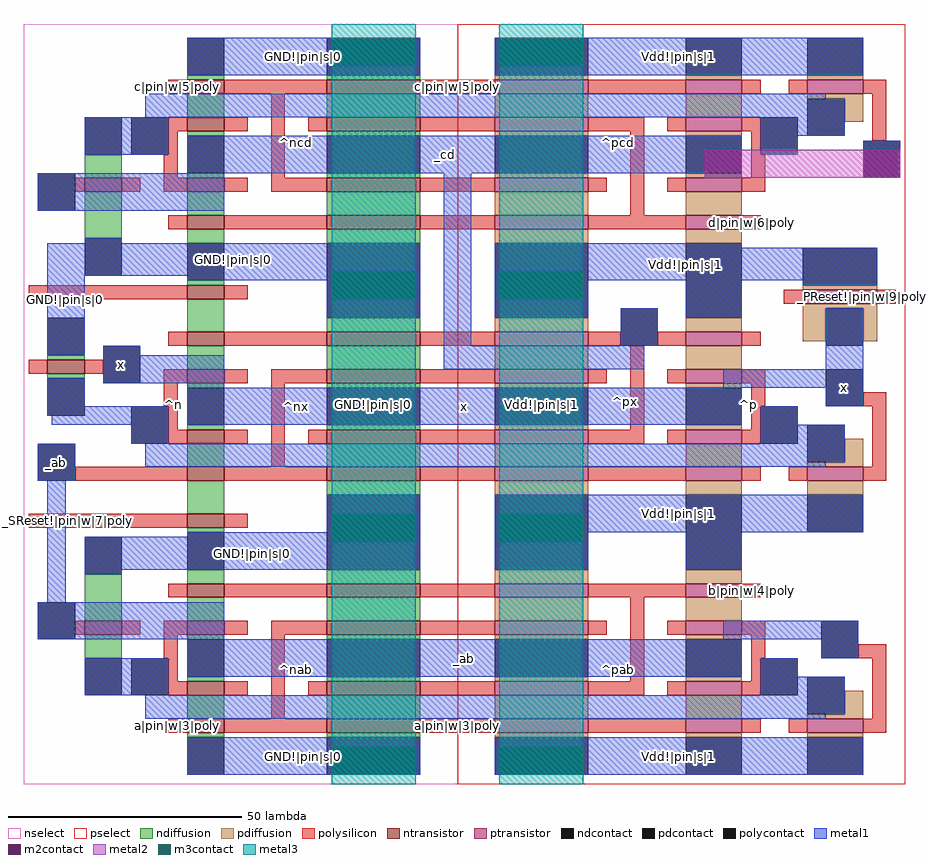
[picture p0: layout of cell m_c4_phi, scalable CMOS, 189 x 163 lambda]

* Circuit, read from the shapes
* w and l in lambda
.subckt m_c4_phi GND!|pin|s|0 Vdd!|pin|s|1 _PReset!|pin|w|9|poly _SReset!|pin|w|7|poly _SReset!|pin|w|8|poly _ab _cd a|pin|w|3|poly b|pin|w|4|poly c|pin|w|5|poly d|pin|w|6|poly x
M1 GND!|pin|s|0 x n1 VSUBS nfet w=8 l=3
M2 GND!|pin|s|0 _ab n2 VSUBS nfet w=8 l=3
M3 n3 _cd GND!|pin|s|0 VSUBS nfet w=8 l=3
M4 n4 a|pin|w|3|poly GND!|pin|s|0 VSUBS nfet w=8 l=3
M5 _ab n2 n4 VSUBS nfet w=8 l=3
M6 n5 n2 _ab VSUBS nfet w=8 l=3
M7 GND!|pin|s|0 b|pin|w|4|poly n5 VSUBS nfet w=8 l=3
M8 n6 _SReset!|pin|w|7|poly GND!|pin|s|0 VSUBS nfet w=8 l=3
M9 n7 _ab n6 VSUBS nfet w=8 l=3
M10 x n1 n7 VSUBS nfet w=8 l=3
M11 n8 n1 x VSUBS nfet w=8 l=3
M12 n9 _cd n8 VSUBS nfet w=8 l=3
M13 GND!|pin|s|0 _SReset!|pin|w|8|poly n9 VSUBS nfet w=8 l=3
M14 n10 d|pin|w|6|poly GND!|pin|s|0 VSUBS nfet w=8 l=3
M15 _cd n3 n10 VSUBS nfet w=8 l=3
M16 n11 n3 _cd VSUBS nfet w=8 l=3
M17 GND!|pin|s|0 c|pin|w|5|poly n11 VSUBS nfet w=8 l=3
M18 n12 a|pin|w|3|poly GND!|pin|s|0 VSUBS nfet w=20 l=3
M19 _ab b|pin|w|4|poly n12 VSUBS nfet w=20 l=3
M20 n13 a|pin|w|3|poly _ab VSUBS nfet w=20 l=3
M21 GND!|pin|s|0 b|pin|w|4|poly n13 VSUBS nfet w=20 l=3
M22 n14 _ab GND!|pin|s|0 VSUBS nfet w=20 l=3
M23 x _cd n14 VSUBS nfet w=20 l=3
M24 n15 _ab x VSUBS nfet w=20 l=3
M25 GND!|pin|s|0 _cd n15 VSUBS nfet w=20 l=3
M26 n16 d|pin|w|6|poly GND!|pin|s|0 VSUBS nfet w=20 l=3
M27 _cd c|pin|w|5|poly n16 VSUBS nfet w=20 l=3
M28 n17 d|pin|w|6|poly _cd VSUBS nfet w=20 l=3
M29 GND!|pin|s|0 c|pin|w|5|poly n17 VSUBS nfet w=20 l=3
M30 n18 a|pin|w|3|poly Vdd!|pin|s|1 NWELL pfet w=20 l=3
M31 _ab b|pin|w|4|poly n18 NWELL pfet w=20 l=3
M32 n19 a|pin|w|3|poly _ab NWELL pfet w=20 l=3
M33 Vdd!|pin|s|1 b|pin|w|4|poly n19 NWELL pfet w=20 l=3
M34 n20 _ab Vdd!|pin|s|1 NWELL pfet w=20 l=3
M35 x _cd n20 NWELL pfet w=20 l=3
M36 n21 _ab x NWELL pfet w=20 l=3
M37 Vdd!|pin|s|1 _cd n21 NWELL pfet w=20 l=3
M38 n22 d|pin|w|6|poly Vdd!|pin|s|1 NWELL pfet w=20 l=3
M39 _cd c|pin|w|5|poly n22 NWELL pfet w=20 l=3
M40 n23 d|pin|w|6|poly _cd NWELL pfet w=20 l=3
M41 Vdd!|pin|s|1 c|pin|w|5|poly n23 NWELL pfet w=20 l=3
M42 n24 a|pin|w|3|poly Vdd!|pin|s|1 NWELL pfet w=12 l=3
M43 _ab n2 n24 NWELL pfet w=12 l=3
M44 n25 n2 _ab NWELL pfet w=12 l=3
M45 Vdd!|pin|s|1 b|pin|w|4|poly n25 NWELL pfet w=12 l=3
M46 n26 _ab Vdd!|pin|s|1 NWELL pfet w=12 l=3
M47 x n1 n26 NWELL pfet w=12 l=3
M48 n27 n1 x NWELL pfet w=12 l=3
M49 Vdd!|pin|s|1 _cd n27 NWELL pfet w=12 l=3
M50 n28 d|pin|w|6|poly Vdd!|pin|s|1 NWELL pfet w=12 l=3
M51 _cd n3 n28 NWELL pfet w=12 l=3
M52 n29 n3 _cd NWELL pfet w=12 l=3
M53 Vdd!|pin|s|1 c|pin|w|5|poly n29 NWELL pfet w=12 l=3
M54 Vdd!|pin|s|1 _PReset!|pin|w|9|poly x NWELL pfet w=16 l=3
M55 n2 _ab Vdd!|pin|s|1 NWELL pfet w=12 l=3
M56 n1 x Vdd!|pin|s|1 NWELL pfet w=12 l=3
M57 Vdd!|pin|s|1 _cd n3 NWELL pfet w=12 l=3
.ends

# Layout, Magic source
magic
tech scmos
<< nselect >>
rect -93 -3 0 160
<< pselect >>
rect 0 -3 96 160
<< ndiffusion >>
rect -58 148 -50 149
rect -28 148 -8 149
rect -58 140 -50 145
rect -80 127 -72 132
rect -58 136 -50 137
rect -58 127 -50 128
rect -28 140 -8 145
rect -28 136 -8 137
rect -28 127 -8 128
rect -80 114 -72 124
rect -58 119 -50 124
rect -28 119 -8 124
rect -58 113 -50 116
rect -58 104 -50 105
rect -28 113 -8 116
rect -58 94 -50 101
rect -28 94 -8 97
rect -88 88 -80 89
rect -88 84 -80 85
rect -58 86 -50 91
rect -28 86 -8 91
rect -58 82 -50 83
rect -58 73 -50 74
rect -58 65 -50 70
rect -28 82 -8 83
rect -28 73 -8 74
rect -28 65 -8 70
rect -58 55 -50 62
rect -28 59 -8 62
rect -58 51 -50 52
rect -80 32 -72 42
rect -58 40 -50 43
rect -28 40 -8 43
rect -58 32 -50 37
rect -28 32 -8 37
rect -80 24 -72 29
rect -58 28 -50 29
rect -58 19 -50 20
rect -58 11 -50 16
rect -28 28 -8 29
rect -28 19 -8 20
rect -28 11 -8 16
rect -58 7 -50 8
rect -28 7 -8 8
<< pdiffusion >>
rect 8 148 28 149
rect 49 148 61 149
rect 75 148 87 149
rect 8 140 28 145
rect 49 140 61 145
rect 75 144 87 145
rect 8 136 28 137
rect 8 127 28 128
rect 8 119 28 124
rect 49 136 61 137
rect 49 127 61 128
rect 83 139 87 144
rect 49 119 61 124
rect 8 113 28 116
rect 49 113 61 116
rect 8 94 28 97
rect 74 103 90 104
rect 49 94 61 97
rect 74 99 90 100
rect 74 92 79 99
rect 87 92 90 99
rect 8 86 28 91
rect 8 82 28 83
rect 8 73 28 74
rect 49 86 61 91
rect 49 82 61 83
rect 49 73 61 74
rect 8 65 28 70
rect 49 65 61 70
rect 83 66 87 71
rect 75 65 87 66
rect 8 59 28 62
rect 8 40 28 43
rect 49 59 61 62
rect 75 59 87 62
rect 49 40 61 43
rect 8 32 28 37
rect 8 28 28 29
rect 8 19 28 20
rect 49 32 61 37
rect 49 28 61 29
rect 49 19 61 20
rect 8 11 28 16
rect 49 11 61 16
rect 83 12 87 17
rect 75 11 87 12
rect 8 7 28 8
rect 49 7 61 8
rect 75 7 87 8
<< ntransistor >>
rect -58 145 -50 148
rect -28 145 -8 148
rect -58 137 -50 140
rect -28 137 -8 140
rect -80 124 -72 127
rect -58 124 -50 127
rect -28 124 -8 127
rect -58 116 -50 119
rect -28 116 -8 119
rect -58 101 -50 104
rect -58 91 -50 94
rect -28 91 -8 94
rect -88 85 -80 88
rect -58 83 -50 86
rect -28 83 -8 86
rect -58 70 -50 73
rect -28 70 -8 73
rect -58 62 -50 65
rect -28 62 -8 65
rect -58 52 -50 55
rect -58 37 -50 40
rect -28 37 -8 40
rect -80 29 -72 32
rect -58 29 -50 32
rect -28 29 -8 32
rect -58 16 -50 19
rect -28 16 -8 19
rect -58 8 -50 11
rect -28 8 -8 11
<< ptransistor >>
rect 8 145 28 148
rect 49 145 61 148
rect 75 145 87 148
rect 8 137 28 140
rect 49 137 61 140
rect 8 124 28 127
rect 49 124 61 127
rect 8 116 28 119
rect 49 116 61 119
rect 8 91 28 94
rect 74 100 90 103
rect 49 91 61 94
rect 8 83 28 86
rect 49 83 61 86
rect 8 70 28 73
rect 49 70 61 73
rect 8 62 28 65
rect 49 62 61 65
rect 75 62 87 65
rect 8 37 28 40
rect 49 37 61 40
rect 8 29 28 32
rect 49 29 61 32
rect 8 16 28 19
rect 49 16 61 19
rect 8 8 28 11
rect 49 8 61 11
rect 75 8 87 11
<< polysilicon >>
rect -62 145 -58 148
rect -50 145 -28 148
rect -8 145 8 148
rect 28 145 49 148
rect 61 145 65 148
rect 71 145 75 148
rect 87 145 92 148
rect -62 137 -58 140
rect -50 137 -45 140
rect -62 132 -60 137
rect -63 127 -60 132
rect -40 127 -37 145
rect -32 137 -28 140
rect -8 137 8 140
rect 28 137 40 140
rect 45 137 49 140
rect 61 137 65 140
rect -82 124 -80 127
rect -72 124 -68 127
rect -63 124 -58 127
rect -50 124 -45 127
rect -40 124 -28 127
rect -8 124 8 127
rect 28 124 32 127
rect 37 119 40 137
rect 63 132 65 137
rect 89 135 92 145
rect 63 127 66 132
rect 45 124 49 127
rect 61 124 66 127
rect -62 116 -58 119
rect -50 116 -28 119
rect -8 116 8 119
rect 28 116 49 119
rect 61 116 65 119
rect -92 101 -58 104
rect -50 101 -45 104
rect -62 91 -58 94
rect -50 91 -28 94
rect -8 91 8 94
rect 28 91 35 94
rect 70 100 74 103
rect 90 100 94 103
rect 43 91 49 94
rect 61 91 65 94
rect -92 85 -88 88
rect -80 85 -76 88
rect -63 83 -58 86
rect -50 83 -45 86
rect -40 83 -28 86
rect -8 83 8 86
rect 28 83 32 86
rect -63 78 -60 83
rect -62 73 -60 78
rect -62 70 -58 73
rect -50 70 -45 73
rect -40 65 -37 83
rect 37 73 40 91
rect 45 83 49 86
rect 61 83 66 86
rect 63 78 66 83
rect 87 78 92 81
rect 63 73 65 78
rect -32 70 -28 73
rect -8 70 8 73
rect 28 70 40 73
rect 45 70 49 73
rect 61 70 65 73
rect 89 65 92 78
rect -82 62 -58 65
rect -50 62 -28 65
rect -8 62 8 65
rect 28 62 49 65
rect 61 62 65 65
rect 71 62 75 65
rect 87 62 92 65
rect -92 52 -58 55
rect -50 52 -45 55
rect -62 37 -58 40
rect -50 37 -28 40
rect -8 37 8 40
rect 28 37 49 40
rect 61 37 65 40
rect -82 29 -80 32
rect -72 29 -68 32
rect -63 29 -58 32
rect -50 29 -45 32
rect -40 29 -28 32
rect -8 29 8 32
rect 28 29 32 32
rect -63 24 -60 29
rect -62 19 -60 24
rect -62 16 -58 19
rect -50 16 -45 19
rect -40 11 -37 29
rect 37 19 40 37
rect 45 29 49 32
rect 61 29 66 32
rect 63 24 66 29
rect 86 24 92 27
rect 63 19 65 24
rect -32 16 -28 19
rect -8 16 8 19
rect 28 16 40 19
rect 45 16 49 19
rect 61 16 65 19
rect 89 11 92 24
rect -62 8 -58 11
rect -50 8 -28 11
rect -8 8 8 11
rect 28 8 49 11
rect 61 8 65 11
rect 71 8 75 11
rect 87 8 92 11
<< ndcontact >>
rect -58 149 -50 157
rect -28 149 -8 157
rect -80 132 -72 140
rect -58 128 -50 136
rect -28 128 -8 136
rect -80 106 -72 114
rect -58 105 -50 113
rect -88 89 -80 97
rect -28 97 -8 113
rect -88 76 -80 84
rect -58 74 -50 82
rect -28 74 -8 82
rect -80 42 -72 50
rect -58 43 -50 51
rect -28 43 -8 59
rect -80 16 -72 24
rect -58 20 -50 28
rect -28 20 -8 28
rect -58 -1 -50 7
rect -28 -1 -8 7
<< pdcontact >>
rect 8 149 28 157
rect 49 149 61 157
rect 75 149 87 157
rect 8 128 28 136
rect 49 128 61 136
rect 75 136 83 144
rect 8 97 28 113
rect 49 97 61 113
rect 74 104 90 112
rect 79 91 87 99
rect 8 74 28 82
rect 49 74 61 82
rect 75 66 83 74
rect 8 43 28 59
rect 49 43 61 59
rect 75 51 87 59
rect 8 20 28 28
rect 49 20 61 28
rect 75 12 83 20
rect 8 -1 28 7
rect 49 -1 61 7
rect 75 -1 87 7
<< polycontact >>
rect -70 132 -62 140
rect -90 120 -82 128
rect 65 132 73 140
rect 87 127 95 135
rect 35 91 43 99
rect -76 83 -68 91
rect -70 70 -62 78
rect -90 62 -82 70
rect 79 78 87 86
rect 65 70 73 78
rect -90 28 -82 36
rect -70 16 -62 24
rect 78 24 86 32
rect 65 16 73 24
<< metal1 >>
rect -58 151 -27 157
rect -9 151 -8 157
rect -58 149 -8 151
rect 8 151 9 157
rect 27 151 87 157
rect 8 149 87 151
rect -67 144 79 145
rect -67 140 83 144
rect -80 132 -62 140
rect 65 136 83 140
rect -58 133 61 136
rect -58 128 53 133
rect -90 120 -50 128
rect -80 113 -72 114
rect -88 107 -8 113
rect -88 106 -27 107
rect -88 89 -80 106
rect -58 105 -27 106
rect -28 101 -27 105
rect -9 101 -8 107
rect -28 97 -8 101
rect -3 91 3 128
rect 65 132 73 136
rect 87 133 95 135
rect 8 112 61 113
rect 8 107 90 112
rect 8 101 9 107
rect 27 105 90 107
rect 27 101 28 105
rect 8 97 28 101
rect 35 91 43 99
rect 49 97 61 105
rect 74 104 90 105
rect -76 89 -68 91
rect -88 78 -80 84
rect -76 83 -50 89
rect -3 86 40 91
rect 79 86 87 99
rect -58 82 -50 83
rect 57 82 87 86
rect -88 76 -62 78
rect -87 74 -62 76
rect -58 74 61 82
rect 79 78 87 82
rect 65 74 73 78
rect -70 70 -62 74
rect 65 70 83 74
rect -90 62 -82 70
rect -67 66 83 70
rect -67 65 79 66
rect -88 36 -84 62
rect -28 55 -8 59
rect -28 51 -27 55
rect -58 50 -27 51
rect -80 49 -27 50
rect -9 49 -8 55
rect -80 43 -8 49
rect 8 55 87 59
rect 8 49 9 55
rect 27 51 87 55
rect 27 49 28 51
rect 8 43 28 49
rect 49 43 61 51
rect -80 42 -72 43
rect -90 28 -50 36
rect 57 28 86 32
rect -80 16 -62 24
rect -58 20 61 28
rect 78 24 86 28
rect 65 20 73 24
rect 65 16 83 20
rect -67 12 83 16
rect -67 11 79 12
rect -58 5 -8 7
rect -58 -1 -27 5
rect -9 -1 -8 5
rect 8 5 87 7
rect 8 -1 9 5
rect 27 -1 87 5
<< m2contact >>
rect -27 151 -9 157
rect 9 151 27 157
rect -27 101 -9 107
rect 53 127 61 133
rect 87 127 95 133
rect 9 101 27 107
rect -27 49 -9 55
rect 9 49 27 55
rect -27 -1 -9 5
rect 9 -1 27 5
<< metal2 >>
rect 53 127 95 133
<< m3contact >>
rect -27 151 -9 157
rect 9 151 27 157
rect -27 101 -9 107
rect 9 101 27 107
rect -27 49 -9 55
rect 9 49 27 55
rect -27 -1 -9 5
rect 9 -1 27 5
<< metal3 >>
rect -27 -3 -9 160
rect 9 -3 27 160
<< labels >>
rlabel metal1 -72 87 -72 87 5 x
rlabel metal1 -86 66 -86 66 1 _ab
rlabel metal1 83 82 83 82 1 x
rlabel metal1 -58 74 61 82 1 x
rlabel metal1 -58 20 61 28 1 _ab
rlabel metal1 -58 128 53 136 1 _cd
rlabel pselect 28 58 44 100 7 ^px
rlabel nselect -41 58 -28 98 3 ^nx
rlabel space -94 -3 -28 160 7 ^n
rlabel space 28 -3 97 160 3 ^p
rlabel nselect -41 -1 -28 44 3 ^nab
rlabel pselect 28 -1 41 44 7 ^pab
rlabel pselect 28 112 41 157 7 ^pcd
rlabel nselect -41 112 -28 157 3 ^ncd
rlabel metal3 -27 -3 -9 160 1 GND!|pin|s|0
rlabel metal3 9 -3 27 160 1 Vdd!|pin|s|1
rlabel polysilicon -2 8 2 11 1 a|pin|w|3|poly
rlabel polysilicon -62 8 -58 11 1 a|pin|w|3|poly
rlabel polysilicon 61 37 65 40 1 b|pin|w|4|poly
rlabel polysilicon -2 145 2 148 1 c|pin|w|5|poly
rlabel polysilicon -62 145 -58 148 1 c|pin|w|5|poly
rlabel polysilicon 61 116 65 119 1 d|pin|w|6|poly
rlabel metal1 8 -1 87 7 1 Vdd!|pin|s|1
rlabel metal1 8 51 87 59 1 Vdd!|pin|s|1
rlabel metal1 8 105 90 112 1 Vdd!|pin|s|1
rlabel metal1 8 149 87 157 1 Vdd!|pin|s|1
rlabel metal1 -58 149 -8 157 1 GND!|pin|s|0
rlabel metal1 -88 106 -8 113 1 GND!|pin|s|0
rlabel metal1 -88 89 -80 113 1 GND!|pin|s|0
rlabel metal1 -80 43 -8 50 1 GND!|pin|s|0
rlabel metal1 -58 -1 -8 7 1 GND!|pin|s|0
rlabel polysilicon -92 52 -88 55 1 _SReset!|pin|w|7|poly
rlabel polysilicon -92 101 -88 104 1 _SReset!|pin|w|8|poly
rlabel polysilicon 90 100 94 103 1 _PReset!|pin|w|9|poly
<< end >>
